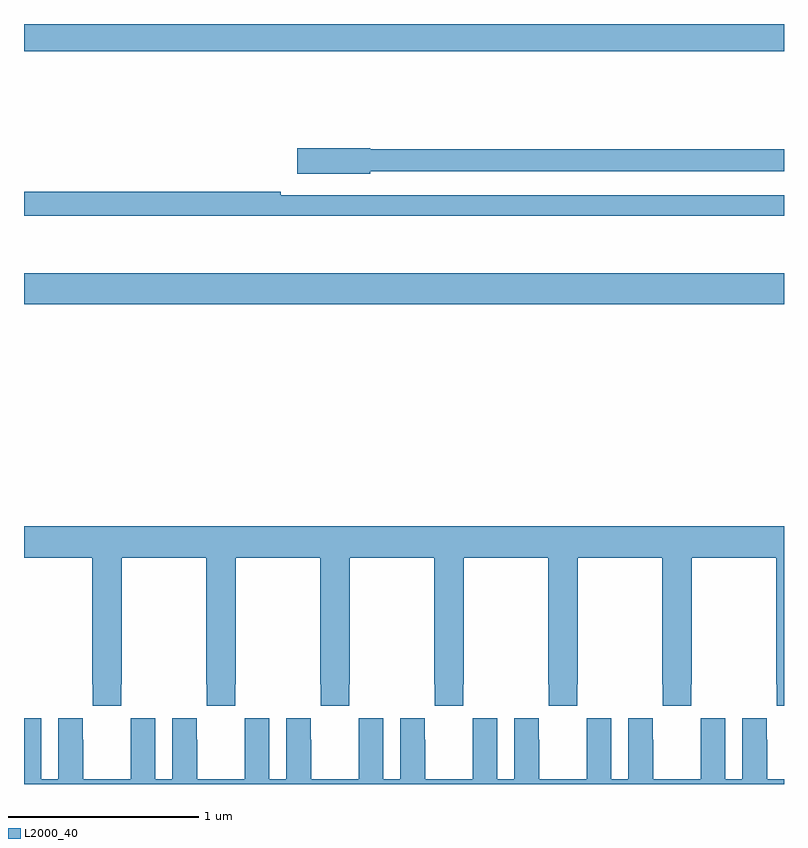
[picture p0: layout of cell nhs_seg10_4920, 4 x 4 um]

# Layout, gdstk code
import gdstk
lib = gdstk.Library(unit=1e-6, precision=1e-09)
def R(c, l, rs):  # rectangles x0, y0, x1, y1
    for r in rs: c.add(gdstk.rectangle(r[:2], r[2:], *l))
def P(c, l, *ps):  # polygons
    for p in ps: c.add(gdstk.Polygon(p, *l))
L2000_40 = (2000, 40)

nhs_seg10_4920 = lib.new_cell('nhs_seg10_4920')
R(nhs_seg10_4920, L2000_40, [(395,1259.024,399,1259.188), (395,1260.356,399,1260.5)])
P(nhs_seg10_4920, L2000_40, [(396.822,1259.724),(399,1259.724),(399,1259.84),(396.822,1259.84),(396.822,1259.846),(396.438,1259.846),(396.438,1259.711),(396.822,1259.711)],
  [(399,1259.598),(396.35,1259.598),(396.35,1259.618),(395,1259.618),(395,1259.49),(399,1259.49)],
  [(395,1257.692),(395.359,1257.692),(395.359,1257.025),(395.361,1257.025),(395.361,1256.913),(395.511,1256.913),(395.511,1257.025),(395.514,1257.025),(395.514,1257.692),(395.959,1257.692),(395.959,1257.025),(395.961,1257.025),(395.961,1256.913),(396.111,1256.913),(396.111,1257.025),(396.114,1257.025),(396.114,1257.692),(396.559,1257.692),(396.559,1257.025),(396.561,1257.025),(396.561,1256.913),(396.711,1256.913),(396.711,1257.025),(396.714,1257.025),(396.714,1257.692),(397.159,1257.692),(397.159,1257.025),(397.161,1257.025),(397.161,1256.913),(397.311,1256.913),(397.311,1257.025),(397.314,1257.025),(397.314,1257.692),(397.759,1257.692),(397.759,1257.025),(397.761,1257.025),(397.761,1256.913),(397.911,1256.913),(397.911,1257.025),(397.914,1257.025),(397.914,1257.692),(398.359,1257.692),(398.359,1257.025),(398.361,1257.025),(398.361,1256.913),(398.511,1256.913),(398.511,1257.025),(398.514,1257.025),(398.514,1257.692),(398.959,1257.692),(398.959,1257.025),(398.961,1257.025),(398.961,1256.913),(399,1256.913),(399,1257.856),(395,1257.856)],
  [(399,1256.524),(398.911,1256.524),(398.911,1256.732),(398.91,1256.732),(398.91,1256.845),(398.78,1256.845),(398.78,1256.524),(398.692,1256.524),(398.692,1256.845),(398.562,1256.845),(398.562,1256.732),(398.561,1256.732),(398.561,1256.524),(398.311,1256.524),(398.311,1256.732),(398.31,1256.732),(398.31,1256.845),(398.18,1256.845),(398.18,1256.524),(398.092,1256.524),(398.092,1256.845),(397.962,1256.845),(397.962,1256.732),(397.961,1256.732),(397.961,1256.524),(397.711,1256.524),(397.711,1256.732),(397.71,1256.732),(397.71,1256.845),(397.58,1256.845),(397.58,1256.524),(397.492,1256.524),(397.492,1256.845),(397.362,1256.845),(397.362,1256.732),(397.361,1256.732),(397.361,1256.524),(397.111,1256.524),(397.111,1256.732),(397.11,1256.732),(397.11,1256.845),(396.98,1256.845),(396.98,1256.524),(396.892,1256.524),(396.892,1256.845),(396.762,1256.845),(396.762,1256.732),(396.761,1256.732),(396.761,1256.524),(396.511,1256.524),(396.511,1256.732),(396.51,1256.732),(396.51,1256.845),(396.38,1256.845),(396.38,1256.524),(396.292,1256.524),(396.292,1256.845),(396.162,1256.845),(396.162,1256.732),(396.161,1256.732),(396.161,1256.524),(395.911,1256.524),(395.911,1256.732),(395.91,1256.732),(395.91,1256.845),(395.78,1256.845),(395.78,1256.524),(395.692,1256.524),(395.692,1256.845),(395.562,1256.845),(395.562,1256.732),(395.561,1256.732),(395.561,1256.524),(395.311,1256.524),(395.311,1256.732),(395.31,1256.732),(395.31,1256.845),(395.18,1256.845),(395.18,1256.524),(395.092,1256.524),(395.092,1256.845),(395,1256.845),(395,1256.5),(399,1256.5)])

lib.write_gds('nhs_seg10_4920.gds')
